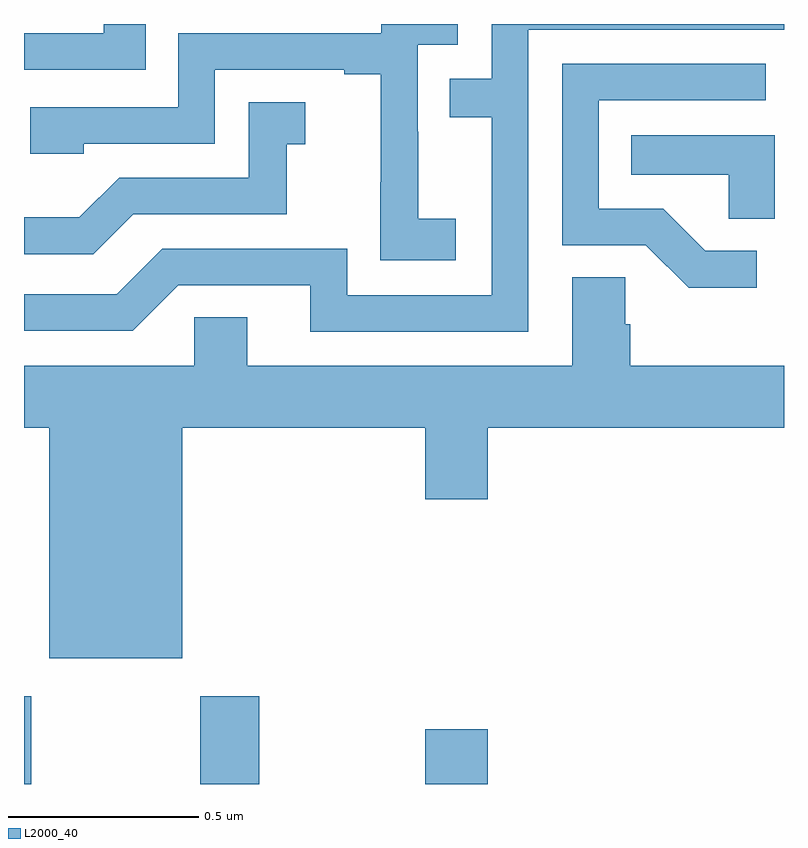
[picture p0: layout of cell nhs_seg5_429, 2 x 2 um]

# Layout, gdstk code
import gdstk
lib = gdstk.Library(unit=1e-6, precision=1e-09)
def R(c, l, rs):  # rectangles x0, y0, x1, y1
    for r in rs: c.add(gdstk.rectangle(r[:2], r[2:], *l))
def P(c, l, *ps):  # polygons
    for p in ps: c.add(gdstk.Polygon(p, *l))
L2000_40 = (2000, 40)

nhs_seg5_429 = lib.new_cell('nhs_seg5_429')
R(nhs_seg5_429, L2000_40, [(116,879.799,116.019,880.03), (116.464,879.799,116.619,880.03), (117.056,879.799,117.22,879.943)])
P(nhs_seg5_429, L2000_40, [(117.136,881.287),(117.038,881.287),(117.038,881.516),(117.036,881.516),(117.036,881.745),(117.141,881.745),(117.141,881.799),(116.94,881.799),(116.94,881.775),(116.406,881.775),(116.406,881.58),(116.017,881.58),(116.017,881.457),(116.157,881.457),(116.157,881.484),(116.502,881.484),(116.502,881.679),(116.843,881.679),(116.843,881.667),(116.939,881.667),(116.939,881.383),(116.938,881.383),(116.938,881.177),(117.136,881.177)],
  [(116.321,881.799),(116.21,881.799),(116.21,881.775),(116,881.775),(116,881.679),(116.321,881.679)],
  [(117.327,881.784),(118,881.784),(118,881.799),(117.231,881.799),(117.231,881.655),(117.121,881.655),(117.121,881.554),(117.231,881.554),(117.231,881.085),(116.85,881.085),(116.85,881.208),(116.364,881.208),(116.244,881.088),(116,881.088),(116,880.992),(116.286,880.992),(116.406,881.112),(116.753,881.112),(116.753,880.989),(117.327,880.989)],
  [(117.928,881.202),(117.793,881.202),(117.682,881.313),(117.513,881.313),(117.513,881.598),(117.952,881.598),(117.952,881.694),(117.417,881.694),(117.417,881.217),(117.636,881.217),(117.749,881.105),(117.928,881.105)],
  [(116.287,881.298),(116.691,881.298),(116.691,881.483),(116.74,881.483),(116.74,881.593),(116.592,881.593),(116.592,881.394),(116.25,881.394),(116.146,881.29),(116,881.29),(116,881.193),(116.182,881.193)],
  [(117.976,881.506),(117.598,881.506),(117.598,881.402),(117.855,881.402),(117.855,881.287),(117.976,881.287)],
  [(116.416,880.736),(117.056,880.736),(117.056,880.548),(117.22,880.548),(117.22,880.736),(118,880.736),(118,880.9),(117.596,880.9),(117.596,881.009),(117.582,881.009),(117.582,881.132),(117.443,881.132),(117.443,880.9),(116.587,880.9),(116.587,881.027),(116.448,881.027),(116.448,880.9),(116,880.9),(116,880.736),(116.066,880.736),(116.066,880.13),(116.416,880.13)])

lib.write_gds('nhs_seg5_429.gds')
